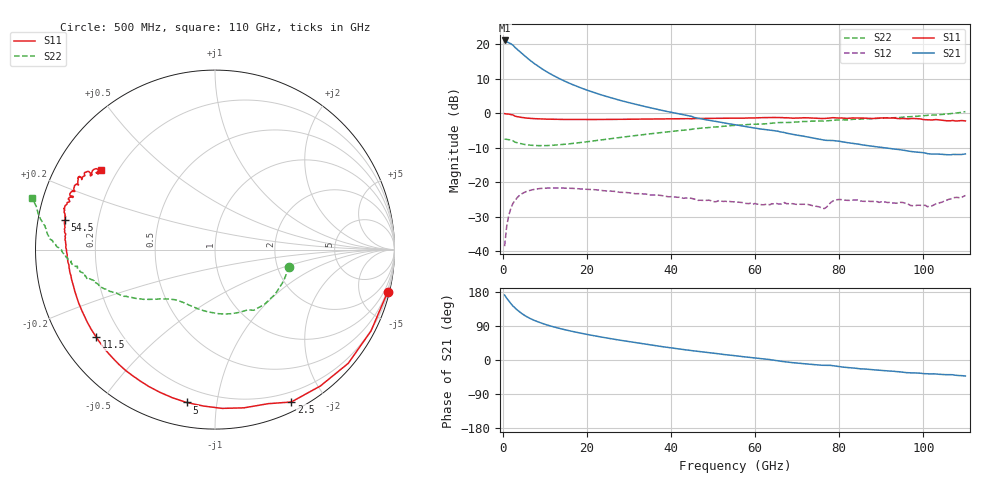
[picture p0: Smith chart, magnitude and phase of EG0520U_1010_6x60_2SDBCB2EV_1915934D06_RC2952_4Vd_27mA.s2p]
!File name = EG0520U_1010_6x60_2SDBCB2EV_1915934D06_RC2952_4Vd_27mA.s2p
!Base file name = EG0520U_1010_6x60_2SDBCB2EV_1915934D06_RC2952
!Date = 8/23/2019
!Time = 1:17 PM
!Test duration(min) = 0.15
!Test = S-Parameters
!MPTS version = 8.91.5
!State File = C:\Data\PNA\20190821205423\S-Parameters_2019-08-23.sta
!Cal File =
!ComputerName = CMPE-LAB-6
!Comments =
!Attenuation = 0
!Z0 = 50
!Input Power(dBm) = -13.00
!Device ID = EG0520U_1010_6x60_2SDBCB2EV
!Row = 29
!Column = 52
!Technology = QPHT09
!Lot/Wafer = 1915934D06
!Gate Size = 360
!Mask = EG0520
!Cal Standards = GaAs BCB
!Cal Kit = EG2306
!Job Number = 20190821205423
!Device Type = FET
!set_Vg(v) = -1.500
!set_Vd(v) = 4.000
!set_Vd(mA) = 27.000
!file_name = EG0520U_1010_6x60_2SDBCB2EV_1915934D06_RC2952_4Vd_27mA.s2p
!Vd(V) = 4.000
!Vd(mA) = 27.053
!Vg(V) = -0.579
!Vg(mA) = -0.006
# GHz  S  DB  R  50
!%	Freq(GHz)  s11(dB)  s11(deg)  s21(dB)  s21(deg)  s12(dB)  s12(deg)  s22(dB)  s22(deg)
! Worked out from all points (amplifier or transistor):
!   220 points, 500 MHz to 110 GHz, reference 50 ohm
!   highest |S21| = 21.1 dB at 500 MHz (marker M1)
!   |S21| within 3 dB of that: start of sweep to 3.902 GHz
!   unconditionally stable (mu >= 1): 32.41 GHz to 101.4 GHz
!   at 18.5 GHz: K = 0.55, MSG = 14.6 dB, |S12| = -21.8 dB
!   at 55.5 GHz: K = 1.52, MAG = 6.8 dB, |S12| = -25.5 dB
!   at 110 GHz: K = -2.32, MSG = 6.0 dB, |S12| = -23.8 dB
!   S11 on the Smith chart (normalised r, x): 500 MHz: 0.33, -8.18; 2.5 GHz: 0.09, -1.61; 5 GHz: 0.12, -0.82; 11.5 GHz: 0.11, -0.32; 54.5 GHz: 0.08, +0.10; 110 GHz: 0.14, +0.31
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0.5  -0.09 -13.9  21.12 171.4  -38.46 80.5  -7.44 -13.0
1  -0.17 -27.6  20.75 163.1  -32.67 73.7  -7.53 -24.9
1.5  -0.21 -40.5  20.42 156.0  -29.48 66.7  -7.59 -36.6
2  -0.35 -52.3  20.16 148.7  -27.43 60.1  -7.72 -48.1
2.5  -0.45 -63.4  19.74 142.3  -26.02 54.4  -7.95 -57.5
3.5  -0.95 -79.7  18.55 132.0  -24.41 45.6  -8.52 -68.9
4.5  -1.17 -94.3  17.47 123.2  -23.36 38.1  -8.81 -81.7
5  -1.25 -100.5  16.93 119.4  -23.00 34.9  -8.94 -87.0
6  -1.39 -111.2  15.91 112.8  -22.48 29.7  -9.14 -95.9
7.5  -1.52 -123.4  14.48 104.7  -22.03 23.5  -9.29 -106.1
9.5  -1.63 -135.0  12.81 96.4  -21.70 17.5  -9.34 -114.8
11.5  -1.70 -143.7  11.35 89.4  -21.61 12.9  -9.28 -121.2
14.5  -1.76 -153.1  9.49 80.7  -21.66 7.8  -8.98 -127.8
19  -1.78 -162.5  7.21 69.9  -21.89 2.5  -8.37 -133.8
27  -1.73 -172.9  4.09 53.8  -22.65 -3.0  -7.12 -141.1
37  -1.60 179.0  1.11 36.7  -23.68 -4.4  -5.65 -148.7
54.5  -1.38 169.0  -3.14 12.3  -25.59 -1.4  -3.52 -161.6
55.5  -1.39 168.3  -3.33 10.9  -25.54 -1.9  -3.43 -162.2
73.5  -1.35 160.0  -7.07 -11.7  -26.68 -1.9  -2.24 -171.9
92  -1.35 151.7  -10.16 -29.2  -25.78 -11.7  -1.31 179.9
101  -1.87 149.4  -11.66 -36.4  -27.04 -11.7  -0.58 174.9
110  -2.20 145.0  -11.73 -42.3  -23.78 -11.9  0.52 164.2
